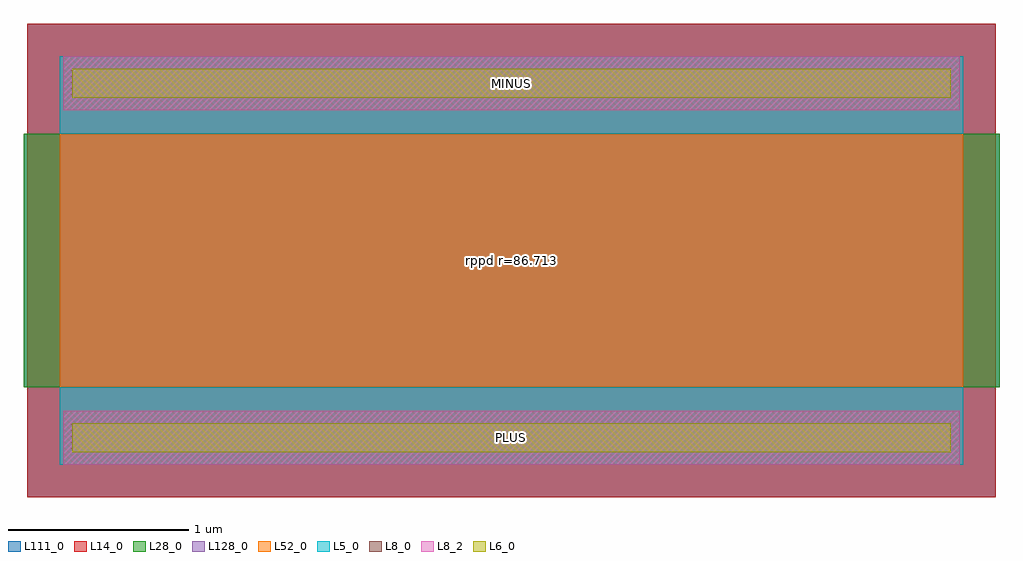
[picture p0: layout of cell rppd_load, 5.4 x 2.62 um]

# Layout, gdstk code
import gdstk
lib = gdstk.Library(unit=1e-6, precision=1e-09)
def R(c, l, rs):  # rectangles x0, y0, x1, y1
    for r in rs: c.add(gdstk.rectangle(r[:2], r[2:], *l))
L5_0 = (5, 0)
L6_0 = (6, 0)
L8_0 = (8, 0)
L8_2 = (8, 2)
L14_0 = (14, 0)
L28_0 = (28, 0)
L52_0 = (52, 0)
L111_0 = (111, 0)
L128_0 = (128, 0)

rppd_load = lib.new_cell('rppd_load')
R(rppd_load, L5_0, [(0,-0.43,5,-0.2), (0,-0.2,5,0), (0,1.4,5,1.6), (0,1.6,5,1.83)])
R(rppd_load, L6_0, [(0.07,-0.36,4.93,-0.2), (0.07,1.6,4.93,1.76)])
R(rppd_load, L8_0, [(0.02,-0.43,4.98,-0.13), (0.02,1.53,4.98,1.83)])
R(rppd_load, L8_2, [(0.02,-0.43,4.98,-0.13), (0.02,1.53,4.98,1.83)])
R(rppd_load, L14_0, [(-0.18,-0.61,5.18,0), (-0.18,0,5.18,1.4), (-0.18,1.4,5.18,2.01)])
R(rppd_load, L28_0, [(-0.2,0,5.2,1.4)])
R(rppd_load, L52_0, [(0,0,5,1.4)])
R(rppd_load, L111_0, [(-0.18,-0.61,5.18,0), (-0.2,0,5.2,1.4), (-0.18,1.4,5.18,2.01)])
R(rppd_load, L128_0, [(0,0,5,1.4)])
rppd_load.add(gdstk.Label('rppd r=86.713', (2.5,0.7), layer=63, texttype=0))
rppd_load.add(gdstk.Label('rppd', (2.5,0.7), layer=52, texttype=0))
rppd_load.add(gdstk.Label('PLUS', (2.5,-0.28), layer=8, texttype=25))
rppd_load.add(gdstk.Label('MINUS', (2.5,1.68), layer=8, texttype=25))

lib.write_gds('rppd_load.gds')
